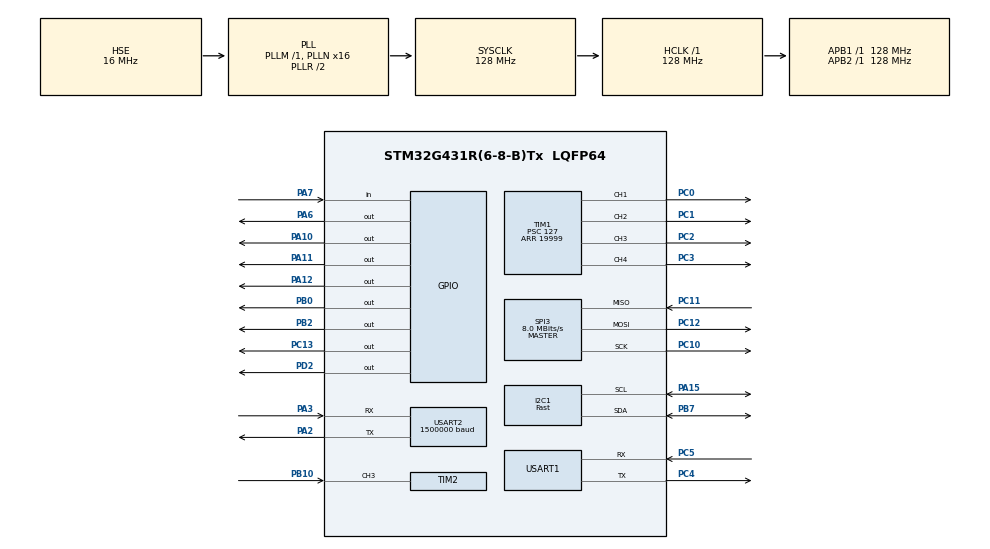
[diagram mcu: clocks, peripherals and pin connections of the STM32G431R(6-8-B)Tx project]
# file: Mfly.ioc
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FREERTOS.Tasks01=defaultTask,24,128,StartDefaultTask,Default,NULL,Dynamic,NULL,NULL;rvRentTask,24,256,rvRent,Default,NULL,Dynamic,NULL,NULL;pwmctrl,24,256,pwmtask,Default,NULL,Dynamic,NULL,NULL;posTask,32,256,poswork,Default,NULL,Dynamic,NULL,NULL
FREERTOS.configENABLE_FPU=1
FREERTOS.configTOTAL_HEAP_SIZE=10240
FREERTOS.configUSE_NEWLIB_REENTRANT=1
I2C1.I2C_Speed_Mode=I2C_Fast
I2C1.Timing=0x2040184B
Mcu.Family=STM32G4
Mcu.Name=STM32G431R(6-8-B)Tx
Mcu.Package=LQFP64
NVIC.PriorityGroup=NVIC_PRIORITYGROUP_4
NVIC.TIM2_IRQn=true\:5\:0\:true\:false\:true\:true\:true\:true\:true
NVIC.TIM3_IRQn=true\:15\:0\:false\:false\:true\:false\:false\:true\:true
NVIC.TIM6_DAC_IRQn=true\:5\:0\:false\:false\:true\:true\:true\:true\:true
NVIC.TimeBase=TIM3_IRQn
NVIC.TimeBaseIP=TIM3
PA10.Signal=GPIO_Output
PA11.Signal=GPIO_Output
PA12.Signal=GPIO_Output
PA13.Mode=Serial_Wire
PA13.Signal=SYS_JTMS-SWDIO
PA14.Mode=Serial_Wire
PA14.Signal=SYS_JTCK-SWCLK
PA15.Mode=I2C
PA15.Signal=I2C1_SCL
PA2.Mode=Asynchronous
PA2.Signal=USART2_TX
PA3.Mode=Asynchronous
PA3.Signal=USART2_RX
PA6.Signal=GPIO_Output
PA7.Signal=GPIO_Input
PB0.Signal=GPIO_Output
PB10.GPIO_ModeDefaultPP=GPIO_MODE_AF_PP
PB10.GPIO_PuPd=GPIO_NOPULL
PB10.Signal=S_TIM2_CH3
PB2.Signal=GPIO_Output
PB7.Mode=I2C
PB7.Signal=I2C1_SDA
PC0.Signal=S_TIM1_CH1
PC1.Signal=S_TIM1_CH2
PC10.Mode=Full_Duplex_Master
PC10.Signal=SPI3_SCK
PC11.Mode=Full_Duplex_Master
PC11.Signal=SPI3_MISO
PC12.Mode=Full_Duplex_Master
PC12.Signal=SPI3_MOSI
PC13.Signal=GPIO_Output
PC2.Signal=S_TIM1_CH3
PC3.Signal=S_TIM1_CH4
PC4.Mode=Asynchronous
PC4.Signal=USART1_TX
PC5.Mode=Asynchronous
PC5.Signal=USART1_RX
PD2.Signal=GPIO_Output
PF0-OSC_IN.Mode=HSE-External-Oscillator
PF0-OSC_IN.Signal=RCC_OSC_IN
PF1-OSC_OUT.Mode=HSE-External-Oscillator
PF1-OSC_OUT.Signal=RCC_OSC_OUT
ProjectManager.HeapSize=0x200
ProjectManager.StackSize=0x400
ProjectManager.TargetToolchain=STM32CubeIDE
RCC.ADC12Freq_Value=128000000
RCC.AHBFreq_Value=128000000
RCC.APB1Freq_Value=128000000
RCC.APB1TimFreq_Value=128000000
RCC.APB2Freq_Value=128000000
RCC.APB2TimFreq_Value=128000000
RCC.CortexFreq_Value=128000000
RCC.EXTERNAL_CLOCK_VALUE=12288000
RCC.HCLKFreq_Value=128000000
RCC.HSE_VALUE=16000000
RCC.HSI48_VALUE=48000000
RCC.HSI_VALUE=16000000
RCC.LSE_VALUE=32768
RCC.PLLN=16
RCC.PLLSourceVirtual=RCC_PLLSOURCE_HSE
RCC.SYSCLKFreq_VALUE=128000000
RCC.SYSCLKSource=RCC_SYSCLKSOURCE_PLLCLK
RCC.USBFreq_Value=128000000
RCC.VCOOutputFreq_Value=256000000
SH.S_TIM1_CH1.0=TIM1_CH1,PWM Generation1 CH1
SH.S_TIM1_CH2.0=TIM1_CH2,PWM Generation2 CH2
SH.S_TIM1_CH3.0=TIM1_CH3,PWM Generation3 CH3
SH.S_TIM1_CH4.0=TIM1_CH4,PWM Generation4 CH4
SH.S_TIM2_CH3.0=TIM2_CH3,Input_Capture3_from_TI3
SPI3.BaudRatePrescaler=SPI_BAUDRATEPRESCALER_16
SPI3.CalculateBaudRate=8.0 MBits/s
SPI3.Direction=SPI_DIRECTION_2LINES
SPI3.Mode=SPI_MODE_MASTER
SPI3.VirtualType=VM_MASTER
TIM1.Channel-PWM\ Generation1\ CH1=TIM_CHANNEL_1
TIM1.Channel-PWM\ Generation2\ CH2=TIM_CHANNEL_2
TIM1.Channel-PWM\ Generation3\ CH3=TIM_CHANNEL_3
TIM1.Channel-PWM\ Generation4\ CH4=TIM_CHANNEL_4
TIM1.PeriodNoDither=19999
TIM1.Prescaler=127
TIM2.AutoReloadPreload=TIM_AUTORELOAD_PRELOAD_DISABLE
TIM2.Channel-Input_Capture3_from_TI3=TIM_CHANNEL_3
TIM2.ICPolarity_CH3=TIM_INPUTCHANNELPOLARITY_BOTHEDGE
TIM2.PeriodNoDither=0xffffffff
TIM2.Prescaler=127
TIM6.Prescaler=127
USART1.VirtualMode-Asynchronous=VM_ASYNC
USART2.BaudRate=1500000
USART2.VirtualMode-Asynchronous=VM_ASYNC
VP_FREERTOS_VS_CMSIS_V2.Mode=CMSIS_V2
VP_SYS_VS_DBSignals.Mode=DisableDeadBatterySignals
VP_SYS_VS_tim3.Mode=TIM3
VP_TIM1_VS_ClockSourceINT.Mode=Internal
VP_TIM2_VS_ClockSourceINT.Mode=Internal
VP_TIM6_VS_ClockSourceINT.Mode=Enable_Timer
board=custom

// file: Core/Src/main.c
/* USER CODE BEGIN Header */
/**
  ******************************************************************************
  * @file           : main.c
  * @brief          : Main program body
  ******************************************************************************
  * @attention
  *
  * Copyright (c) 2025 STMicroelectronics.
  * All rights reserved.
  *
  * This software is licensed under terms that can be found in the LICENSE file
  * in the root directory of this software component.
  * If no LICENSE file comes with this software, it is provided AS-IS.
  *
  ******************************************************************************
  */
/* USER CODE END Header */
#include "main.h"
#include "cmsis_os.h"
#include "i2c.h"
#include "spi.h"
#include "tim.h"
#include "usart.h"
#include "gpio.h"

/* USER CODE BEGIN Includes */
#include "icm_42688p.h"
#include "be252q.h"
#include "stdio.h"
#include "rc.h"
//#include "my1280app.h"
/* USER CODE END Includes */

/* USER CODE BEGIN PTD */
extern UART_HandleTypeDef huart2;
extern UART_HandleTypeDef huart3;
BE252Q_HandleTypeDef hbe252q;
/* USER CODE END PTD */

/* USER CODE BEGIN PM */

#ifdef __GNUC__
#define PUTCHAR_PROTOTYPE int __io_putchar(int ch)
#else
#define PUTCHAR_PROTOTYPE int fputc(int ch, FILE *f)
#endif

PUTCHAR_PROTOTYPE
{
    /* 通过 HAL 库函数发送数据，等待超时时间设置为 HAL_MAX_DELAY */
    HAL_UART_Transmit(&huart2, (uint8_t *)&ch, 1, HAL_MAX_DELAY);
    return ch;
}

/* USER CODE END PM */

void SystemClock_Config(void);
void MX_FREERTOS_Init(void);

int main(void)
{

  /* MCU Configuration--------------------------------------------------------*/

  /* Reset of all peripherals, Initializes the Flash interface and the Systick. */
  HAL_Init();

  /* Configure the system clock */
  SystemClock_Config();

  /* Initialize all configured peripherals */
  MX_GPIO_Init();
  MX_USART1_UART_Init();
  MX_USART2_UART_Init();
  MX_SPI3_Init();
  MX_TIM1_Init();
  MX_I2C1_Init();
  MX_TIM2_Init();
  MX_TIM6_Init();
  /* USER CODE BEGIN 2 */
    // 初始化BE252Q驱动
//    hbe252q.huart_rx = &huart3;
//    hbe252q.huart_tx = &huart2;
//    BE252Q_Init(&hbe252q);
    HAL_Delay(1000);
    HAL_GPIO_WritePin(GPIOB,GPIO_PIN_2,GPIO_PIN_RESET);
    printf("system init\r\n");
    printf("pwmctrl task run\r\n");
    printf("esc unlock\r\n");
    HAL_TIM_PWM_Start(&htim1,TIM_CHANNEL_1);
    HAL_TIM_PWM_Start(&htim1,TIM_CHANNEL_2);
    HAL_TIM_PWM_Start(&htim1,TIM_CHANNEL_3);
    HAL_TIM_PWM_Start(&htim1,TIM_CHANNEL_4);
    printf("pwm start\r\n");
    __HAL_TIM_SET_COMPARE(&htim1,TIM_CHANNEL_1,1000);
    __HAL_TIM_SET_COMPARE(&htim1,TIM_CHANNEL_2,1000);
    __HAL_TIM_SET_COMPARE(&htim1,TIM_CHANNEL_3,1000);
    __HAL_TIM_SET_COMPARE(&htim1,TIM_CHANNEL_4,1000);
    HAL_Delay(4000);
    __HAL_TIM_SET_COMPARE(&htim1,TIM_CHANNEL_1,2000);
    __HAL_TIM_SET_COMPARE(&htim1,TIM_CHANNEL_2,2000);
    __HAL_TIM_SET_COMPARE(&htim1,TIM_CHANNEL_3,2000);
    __HAL_TIM_SET_COMPARE(&htim1,TIM_CHANNEL_4,2000);
    printf("set pwm MAX\r\n");
    HAL_Delay(6000);
    __HAL_TIM_SET_COMPARE(&htim1,TIM_CHANNEL_1,1000);
    __HAL_TIM_SET_COMPARE(&htim1,TIM_CHANNEL_2,1000);
    __HAL_TIM_SET_COMPARE(&htim1,TIM_CHANNEL_3,1000);
    __HAL_TIM_SET_COMPARE(&htim1,TIM_CHANNEL_4,1000);
    printf("set pwm MIN\r\n");
    HAL_Delay(8000);
    __HAL_TIM_SET_COMPARE(&htim1,TIM_CHANNEL_1,1100);
    __HAL_TIM_SET_COMPARE(&htim1,TIM_CHANNEL_2,1000);
    __HAL_TIM_SET_COMPARE(&htim1,TIM_CHANNEL_3,1000);
    __HAL_TIM_SET_COMPARE(&htim1,TIM_CHANNEL_4,1000);
    HAL_Delay(1000);
    __HAL_TIM_SET_COMPARE(&htim1,TIM_CHANNEL_1,1000);
    __HAL_TIM_SET_COMPARE(&htim1,TIM_CHANNEL_2,1100);
    __HAL_TIM_SET_COMPARE(&htim1,TIM_CHANNEL_3,1000);
    __HAL_TIM_SET_COMPARE(&htim1,TIM_CHANNEL_4,1000);
    HAL_Delay(1000);
    __HAL_TIM_SET_COMPARE(&htim1,TIM_CHANNEL_1,1000);
    __HAL_TIM_SET_COMPARE(&htim1,TIM_CHANNEL_2,1000);
    __HAL_TIM_SET_COMPARE(&htim1,TIM_CHANNEL_3,1100);
    __HAL_TIM_SET_COMPARE(&htim1,TIM_CHANNEL_4,1000);
    HAL_Delay(1000);
    __HAL_TIM_SET_COMPARE(&htim1,TIM_CHANNEL_1,1000);
    __HAL_TIM_SET_COMPARE(&htim1,TIM_CHANNEL_2,1000);
    __HAL_TIM_SET_COMPARE(&htim1,TIM_CHANNEL_3,1000);
    __HAL_TIM_SET_COMPARE(&htim1,TIM_CHANNEL_4,1100);
    HAL_Delay(1000);
    __HAL_TIM_SET_COMPARE(&htim1,TIM_CHANNEL_1,1000);
    __HAL_TIM_SET_COMPARE(&htim1,TIM_CHANNEL_2,1000);
    __HAL_TIM_SET_COMPARE(&htim1,TIM_CHANNEL_3,1000);
    __HAL_TIM_SET_COMPARE(&htim1,TIM_CHANNEL_4,1000);
    HAL_TIM_IC_Start_IT(&htim2, TIM_CHANNEL_3);
    HAL_TIM_Base_Start_IT(&htim6);
  /* USER CODE END 2 */

  /* Init scheduler */
  osKernelInitialize();  /* Call init function for freertos objects (in freertos.c) */
  MX_FREERTOS_Init();

  /* Start scheduler */
  osKernelStart();
  /* We should never get here as control is now taken by the scheduler */
  /* Infinite loop */
  while (1)
  {

  }
}

void SystemClock_Config(void)
{
  RCC_OscInitTypeDef RCC_OscInitStruct = {0};
  RCC_ClkInitTypeDef RCC_ClkInitStruct = {0};

  /** Configure the main internal regulator output voltage
  */
  HAL_PWREx_ControlVoltageScaling(PWR_REGULATOR_VOLTAGE_SCALE1);

  /** Initializes the RCC Oscillators according to the specified parameters
  * in the RCC_OscInitTypeDef structure.
  */
  RCC_OscInitStruct.OscillatorType = RCC_OSCILLATORTYPE_HSE;
  RCC_OscInitStruct.HSEState = RCC_HSE_ON;
  RCC_OscInitStruct.PLL.PLLState = RCC_PLL_ON;
  RCC_OscInitStruct.PLL.PLLSource = RCC_PLLSOURCE_HSE;
  RCC_OscInitStruct.PLL.PLLM = RCC_PLLM_DIV1;
  RCC_OscInitStruct.PLL.PLLN = 16;
  RCC_OscInitStruct.PLL.PLLP = RCC_PLLP_DIV2;
  RCC_OscInitStruct.PLL.PLLQ = RCC_PLLQ_DIV2;
  RCC_OscInitStruct.PLL.PLLR = RCC_PLLR_DIV2;
  if (HAL_RCC_OscConfig(&RCC_OscInitStruct) != HAL_OK)
  {
    Error_Handler();
  }

  /** Initializes the CPU, AHB and APB buses clocks
  */
  RCC_ClkInitStruct.ClockType = RCC_CLOCKTYPE_HCLK|RCC_CLOCKTYPE_SYSCLK
                              |RCC_CLOCKTYPE_PCLK1|RCC_CLOCKTYPE_PCLK2;
  RCC_ClkInitStruct.SYSCLKSource = RCC_SYSCLKSOURCE_PLLCLK;
  RCC_ClkInitStruct.AHBCLKDivider = RCC_SYSCLK_DIV1;
  RCC_ClkInitStruct.APB1CLKDivider = RCC_HCLK_DIV1;
  RCC_ClkInitStruct.APB2CLKDivider = RCC_HCLK_DIV1;

  if (HAL_RCC_ClockConfig(&RCC_ClkInitStruct, FLASH_LATENCY_4) != HAL_OK)
  {
    Error_Handler();
  }
}

/* USER CODE BEGIN 4 */

void HAL_UART_RxCpltCallback(UART_HandleTypeDef *huart) {
    if(huart->Instance == USART3) {
        // 更新接收索引
        hbe252q.rx_index++;

        // 检查缓冲区溢出
        if(hbe252q.rx_index >= RX_BUFFER_SIZE) {
            hbe252q.rx_index = 0;
        }

        // 重新使能接收中断
        HAL_UART_Receive_IT(huart,
                            &hbe252q.rx_buffer[hbe252q.rx_index],
                            1);
    }
}
// PPM信号参数
#define PPM_SYNC_PULSE_MIN  4000

// 全局变量
extern uint16_t ppmValues[16]; // 存储各通道值
extern uint8_t ppmUpdated;              // 数据更新标志
volatile uint8_t ppmChannelIndex = 0;         // 当前通道索引
volatile uint32_t lastCapture = 0;            // 上一次捕获时间戳
extern osThreadId_t rvRentTaskHandle;
volatile uint32_t ulHighFrequencyTimerTicks = 0;  // 统计时间戳计数器

void HAL_TIM_IC_CaptureCallback(TIM_HandleTypeDef *htim) {
    if (htim->Instance == TIM2) {
        // 你的PPM捕获逻辑（与之前非FreeRTOS代码相同）
        uint32_t currentCapture = HAL_TIM_ReadCapturedValue(htim, TIM_CHANNEL_3);
        uint32_t pulseWidth = (currentCapture - lastCapture) & 0xFFFFFFFF;

        if (pulseWidth > PPM_SYNC_PULSE_MIN) {
            ppmChannelIndex = 0;
        } else {
            if (ppmChannelIndex < 16) {
                ppmValues[ppmChannelIndex++] = pulseWidth;
                if (ppmChannelIndex >= 16) {
                    ppmUpdated = 1;
                    vTaskNotifyGiveFromISR(rvRentTaskHandle, pdFALSE);
                }
            }
        }
        lastCapture = currentCapture;
    }
}
/* USER CODE END 4 */

void HAL_TIM_PeriodElapsedCallback(TIM_HandleTypeDef *htim)
{
  if (htim->Instance == TIM3) {
    HAL_IncTick();
  }
  /* USER CODE BEGIN Callback 1 */
    if (htim->Instance == TIM6) {
        ulHighFrequencyTimerTicks++;  // 每 1us 计数一次
    }
  /* USER CODE END Callback 1 */
}

void Error_Handler(void)
{
  /* USER CODE BEGIN Error_Handler_Debug */
  /* User can add his own implementation to report the HAL error return state */
  __disable_irq();
  while (1)
  {
      printf("some error happened!\r\n");
  }
  /* USER CODE END Error_Handler_Debug */
}
